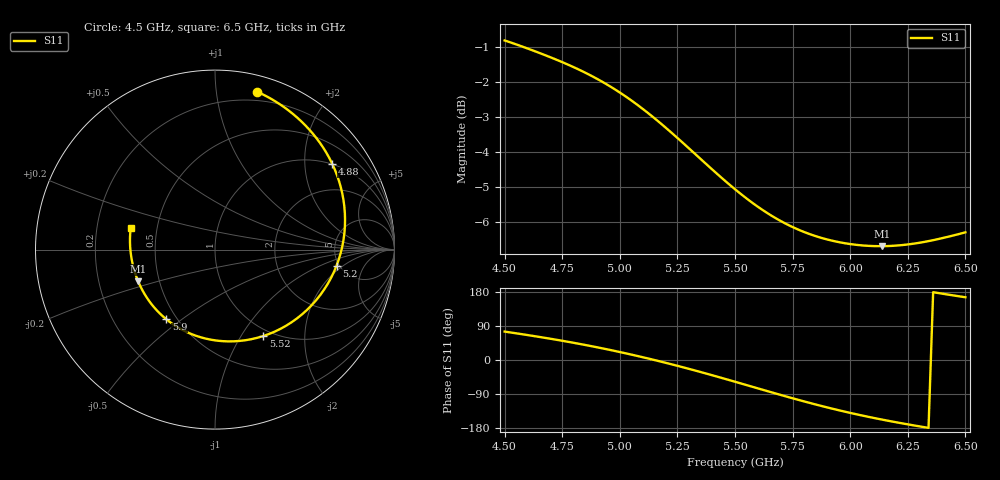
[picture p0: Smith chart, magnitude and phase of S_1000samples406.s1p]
! TOUCHSTONE file generated by CST MICROWAVE STUDIO
! Date and time: Fri Oct 28 01:39:15 2022
! Project name: L.cst
! Parameters = {Di=1.27; Epsilon_r=1.56; InnerDiameter=1.27; Length=2; Lf=10; Lg=60; OuterConductorThickness=0.2921; OuterDiameter=3.6; Wf=3; Wp=41.2; de=1.5; df=6.8; g=0.8; gx=2.07643; gy=2.13848; h=2.34; hf=1.524; px=10.9664; py=10.8564; w=9.7; wx=8.88996; wy=8.71789}
! Header version: 2018
! Port assignment regex: !\s*Touchstone port\s*([0-9]+)\s*=\s*(CST MWS port|CST DS port)\s*([0-9]+|Zmin|Zmax)\s*\(\"(.*)\"\)(\s*mode\s*([0-9]+))?.*
! Touchstone port assignment:
! Touchstone port 1 = CST MWS port 1 ("")
# GHz S DB R 50
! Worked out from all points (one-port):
!   101 points, 4.5 GHz to 6.5 GHz, reference 50 ohm
!   lowest |S11| = -6.7 dB at 6.14 GHz (marker M1), VSWR 2.72, Z = 19 - j8.58 ohm
!   |S11| at or under -10 dB: nowhere
!   S11 on the Smith chart (normalised r, x): 4.5 GHz: 0.13, +1.30; 4.88 GHz: 0.99, +2.75; 5.2 GHz: 4.75, -1.60; 5.52 GHz: 0.91, -1.26; 5.9 GHz: 0.44, -0.44; 6.5 GHz: 0.35, +0.11
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4.5  -0.82 75.0
4.56  -0.95 69.5
4.64  -1.15 61.9
4.76  -1.46 49.7
4.88  -1.84 36.1
4.94  -2.06 28.8
5  -2.30 21.0
5.06  -2.58 12.9
5.1  -2.77 7.3
5.14  -2.98 1.5
5.2  -3.31 -7.6
5.26  -3.66 -16.9
5.32  -4.01 -26.6
5.38  -4.37 -36.7
5.44  -4.73 -46.9
5.5  -5.06 -57.4
5.52  -5.17 -60.9
5.58  -5.47 -71.5
5.64  -5.74 -82.0
5.7  -5.98 -92.5
5.76  -6.17 -102.7
5.84  -6.38 -115.8
5.9  -6.50 -125.1
6  -6.63 -139.6
6.14  -6.69 -157.5
6.26  -6.63 -170.9
6.38  -6.49 176.9
6.5  -6.29 165.6
